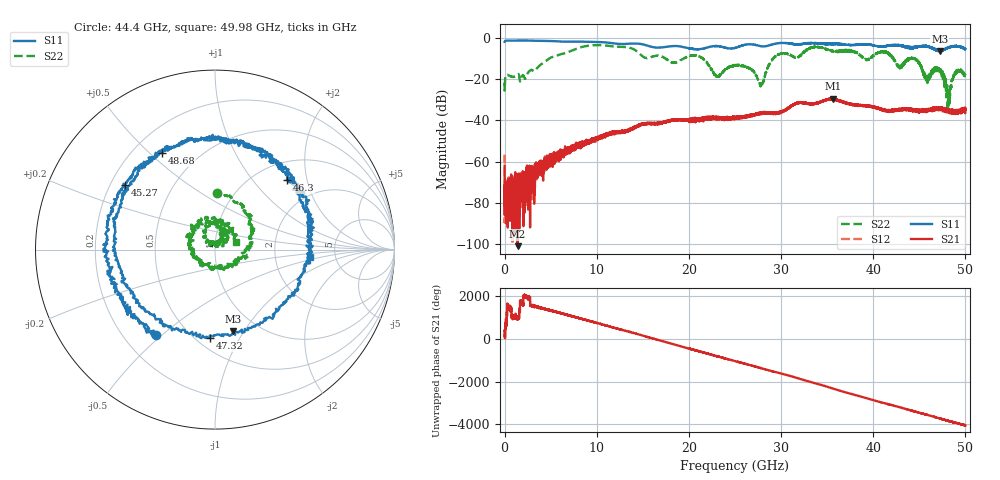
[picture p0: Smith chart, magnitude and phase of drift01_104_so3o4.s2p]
!Created with skrf (http://scikit-rf.org).
# Hz S RI R 50.0
!freq ReS11 ImS11 ReS21 ImS21 ReS12 ImS12 ReS22 ImS22
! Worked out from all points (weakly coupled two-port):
!   10001 points, 300 kHz to 50 GHz, reference 50 ohm
!   highest |S21| = -29.53 dB at 35.62 GHz (marker M1); lowest = -101.0 dB at 1.4 GHz (marker M2)
!   lowest |S11| = -6.7 dB at 47.21 GHz (marker M3), VSWR 2.73, Z = 38.6 - j44.6 ohm
!   |S11| at or under -10 dB: nowhere
!   |S22| runs from -35.8 to -3.6 dB; largest |S21 - S12| = 0.0042
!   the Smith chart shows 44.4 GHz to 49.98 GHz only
!   S11 on the Smith chart (normalised r, x): 44.4 GHz: 0.33, -0.48; 45.27 GHz: 0.26, +0.30; 46.3 GHz: 1.36, +1.52; 47.32 GHz: 0.58, -0.76; 48.68 GHz: 0.32, +0.55; 49.98 GHz: 3.21, -0.34
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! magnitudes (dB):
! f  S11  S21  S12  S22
! 300 kHz  -2.1  -62.0  -56.7  -21.9
! 255.3 MHz  -1.4  -77.2  -75.3  -18.0
! 1.4 GHz  -1.4  -101.0  -78.5  -17.8
! 8.335 GHz  -1.9  -52.7  -51.4  -4.5
! 16.67 GHz  -4.8  -41.5  -41.6  -8.7
! 20.97 GHz  -5.6  -40.0  -39.5  -8.8
! 23.07 GHz  -4.1  -39.2  -39.0  -18.7
! 25 GHz  -5.0  -39.0  -38.9  -13.7
! 27.84 GHz  -4.1  -36.9  -36.6  -23.1
! 29.48 GHz  -2.8  -36.2  -36.5  -8.8
! 33.34 GHz  -2.6  -32.2  -32.0  -4.7
! 35.62 GHz  -3.0  -29.5  -29.8  -6.6
! 41.67 GHz  -3.9  -35.2  -35.4  -7.6
! 44.4 GHz  -4.8  -35.4  -35.3  -10.0
! 45.27 GHz  -4.2  -35.1  -35.4  -14.5
! 46.3 GHz  -5.1  -34.9  -34.6  -16.5
! 47.21 GHz  -6.7  -34.4  -34.3  -16.5
! 47.32 GHz  -6.1  -34.6  -34.6  -15.3
! 48.13 GHz  -4.8  -35.0  -35.5  -31.9
! 48.68 GHz  -4.3  -35.3  -35.5  -19.2
! 49.98 GHz  -5.5  -34.7  -35.1  -18.1
! 50 GHz  -5.5  -34.4  -35.0  -18.2
